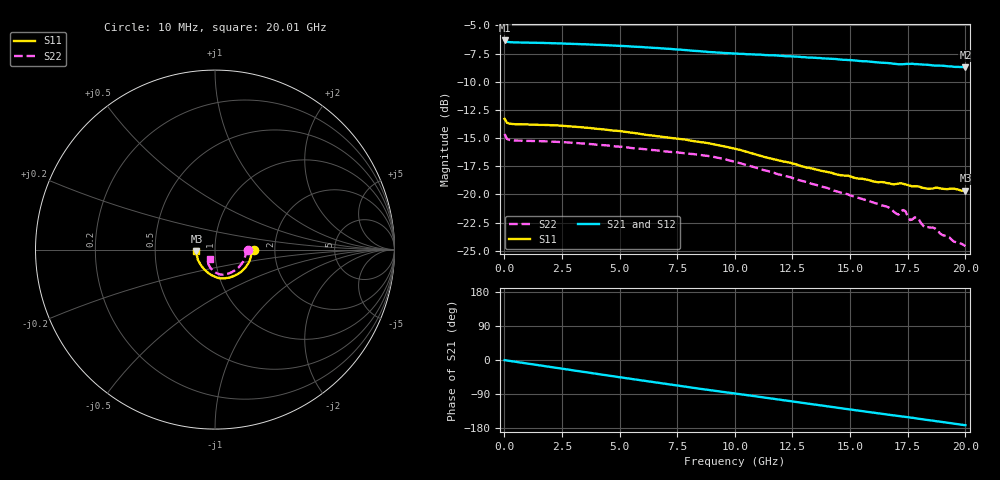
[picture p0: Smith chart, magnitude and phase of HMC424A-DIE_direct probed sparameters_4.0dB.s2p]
!s2p File: Measurements: S11, S21, S12, S22
# GHz S dB R 50.0
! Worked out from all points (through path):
!   201 points, 10 MHz to 20.01 GHz, reference 50 ohm
!   highest |S21| = -6.33 dB at 10 MHz (marker M1); lowest = -8.7 dB at 20.01 GHz (marker M2)
!   group delay of S21, straight-line fit = 23.7 ps
!   lowest |S11| = -19.7 dB at 20.01 GHz (marker M3), VSWR 1.23, Z = 40.6 - j0.819 ohm
!   |S11| at or under -10 dB: start of sweep to end of sweep
!   |S22| runs from -24.6 to -14.6 dB; largest |S21 - S12| = 0.0031
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0.01  -13.29 -1.0  -6.33 -0.5  -6.32 -0.4  -14.64 -1.3
0.11  -13.63 -2.1  -6.45 -1.4  -6.45 -1.4  -15.07 -2.3
0.31  -13.74 -3.2  -6.49 -3.1  -6.49 -3.1  -15.19 -3.4
1.91  -13.84 -15.5  -6.56 -17.6  -6.56 -17.6  -15.29 -16.2
3.41  -14.05 -27.5  -6.67 -31.2  -6.66 -31.2  -15.48 -28.5
5.11  -14.40 -41.3  -6.82 -46.4  -6.82 -46.4  -15.78 -42.0
6.71  -14.85 -54.0  -7.01 -60.6  -7.02 -60.6  -16.12 -54.0
8.31  -15.30 -67.2  -7.26 -74.4  -7.26 -74.4  -16.45 -66.1
10.01  -15.95 -83.0  -7.49 -88.4  -7.50 -88.4  -17.10 -79.7
11.71  -16.88 -98.0  -7.65 -102.7  -7.67 -102.6  -18.09 -91.0
13.41  -17.73 -112.5  -7.86 -117.0  -7.87 -117.0  -19.10 -100.0
15.01  -18.40 -126.9  -8.07 -130.6  -8.09 -130.4  -20.09 -107.9
16.71  -19.02 -143.1  -8.35 -144.6  -8.34 -144.5  -21.19 -115.6
17.11  -19.04 -146.2  -8.45 -147.7  -8.39 -147.7  -21.80 -114.8
17.31  -19.06 -148.9  -8.44 -149.2  -8.43 -149.4  -21.39 -116.4
17.41  -19.12 -150.0  -8.42 -149.8  -8.43 -150.2  -21.50 -119.0
17.61  -19.25 -151.5  -8.41 -151.4  -8.44 -151.9  -22.28 -118.6
17.91  -19.28 -153.9  -8.43 -154.4  -8.47 -154.2  -22.04 -119.1
18.31  -19.48 -158.5  -8.48 -157.8  -8.51 -157.6  -22.98 -119.4
18.61  -19.48 -161.0  -8.55 -160.3  -8.55 -160.0  -22.95 -119.5
19.01  -19.50 -165.6  -8.57 -163.7  -8.60 -163.6  -23.61 -120.6
20.01  -19.67 -174.5  -8.72 -172.1  -8.71 -172.0  -24.60 -118.7
